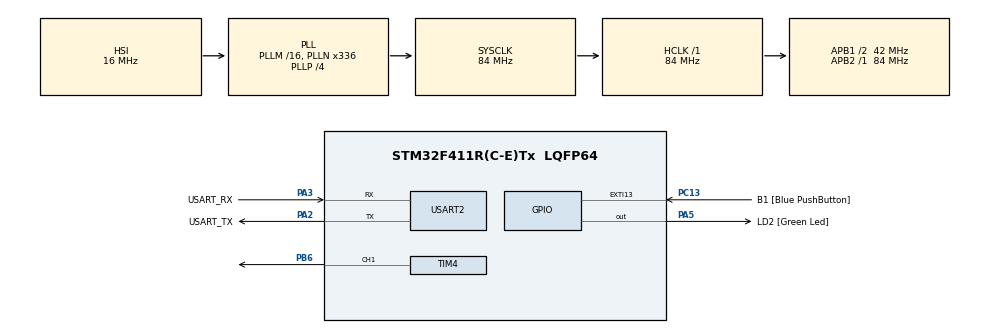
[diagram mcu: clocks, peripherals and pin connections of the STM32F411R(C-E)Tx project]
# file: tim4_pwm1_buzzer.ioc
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Mcu.Family=STM32F4
Mcu.Name=STM32F411R(C-E)Tx
Mcu.Package=LQFP64
NVIC.PriorityGroup=NVIC_PRIORITYGROUP_0
PA13.GPIO_Label=TMS
PA13.Mode=Serial_Wire
PA13.Signal=SYS_JTMS-SWDIO
PA14.GPIO_Label=TCK
PA14.Mode=Serial_Wire
PA14.Signal=SYS_JTCK-SWCLK
PA2.GPIO_Label=USART_TX
PA2.Mode=Asynchronous
PA2.Signal=USART2_TX
PA3.GPIO_Label=USART_RX
PA3.Mode=Asynchronous
PA3.Signal=USART2_RX
PA5.GPIO_Label=LD2 [Green Led]
PA5.Signal=GPIO_Output
PB3.GPIO_Label=SWO
PB3.Signal=SYS_JTDO-SWO
PB6.Signal=S_TIM4_CH1
PC13-ANTI_TAMP.GPIO_Label=B1 [Blue PushButton]
PC13-ANTI_TAMP.GPIO_ModeDefaultEXTI=GPIO_MODE_IT_FALLING
PC13-ANTI_TAMP.Signal=GPXTI13
PC14-OSC32_IN.Mode=LSE-External-Oscillator
PC14-OSC32_IN.Signal=RCC_OSC32_IN
PC15-OSC32_OUT.Mode=LSE-External-Oscillator
PC15-OSC32_OUT.Signal=RCC_OSC32_OUT
PH0\ -\ OSC_IN.Mode=HSE-External-Clock-Source
PH0\ -\ OSC_IN.Signal=RCC_OSC_IN
PH1\ -\ OSC_OUT.Mode=HSE-External-Clock-Source
PH1\ -\ OSC_OUT.Signal=RCC_OSC_OUT
ProjectManager.HeapSize=0x200
ProjectManager.StackSize=0x400
ProjectManager.TargetToolchain=STM32CubeIDE
RCC.48MHZClocksFreq_Value=84000000
RCC.AHBFreq_Value=84000000
RCC.APB1CLKDivider=RCC_HCLK_DIV2
RCC.APB1Freq_Value=42000000
RCC.APB1TimFreq_Value=84000000
RCC.APB2Freq_Value=84000000
RCC.APB2TimFreq_Value=84000000
RCC.CortexFreq_Value=84000000
RCC.FLatency-AdvancedSettings=FLASH_LATENCY_2
RCC.HCLKFreq_Value=84000000
RCC.HSE_VALUE=8000000
RCC.HSI_VALUE=16000000
RCC.PLLN=336
RCC.PLLP=RCC_PLLP_DIV4
RCC.SYSCLKFreq_VALUE=84000000
RCC.SYSCLKSource=RCC_SYSCLKSOURCE_PLLCLK
RCC.VCOOutputFreq_Value=336000000
SH.S_TIM4_CH1.0=TIM4_CH1,PWM Generation1 CH1
TIM4.Channel-PWM\ Generation1\ CH1=TIM_CHANNEL_1
TIM4.Period=0
TIM4.Prescaler=84-1
USART2.VirtualMode=VM_ASYNC
VP_TIM4_VS_ClockSourceINT.Mode=Internal
board=NUCLEO-F411RE

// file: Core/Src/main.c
/* USER CODE BEGIN Header */
/**
 * PB6 : buzzer
  ******************************************************************************
  * @file           : main.c
  * @brief          : Main program body
  ******************************************************************************
  * @attention
  *
  * Copyright (c) 2024 STMicroelectronics.
  * All rights reserved.
  *
  * This software is licensed under terms that can be found in the LICENSE file
  * in the root directory of this software component.
  * If no LICENSE file comes with this software, it is provided AS-IS.
  *
  ******************************************************************************
  */
/* USER CODE END Header */
#include "main.h"

/* USER CODE BEGIN PD */
#define TIM4COUNTERCLOCK 1000000
/* USER CODE END PD */

TIM_HandleTypeDef htim4;

UART_HandleTypeDef huart2;

/* USER CODE BEGIN PV */
enum notes
{
	C4 = 26163,	//도(261.63Hz)
	D4 = 29366,
	E4 = 32963,
	F4 = 34923,
	G4 = 39200,
	A4 = 44000,
	B4 = 49388,
	C5 = 52325	//도(523.25Hz)
};
enum notes SchoolBell[] = {G4,G4,A4,A4,G4,G4,E4,G4,G4,E4,E4,D4,
							G4,G4,A4,A4,G4,G4,E4,G4,E4,D4,E4,C4};

/* USER CODE END PV */

void SystemClock_Config(void);
static void MX_GPIO_Init(void);
static void MX_USART2_UART_Init(void);
static void MX_TIM4_Init(void);

int main(void)
{

  /* MCU Configuration--------------------------------------------------------*/

  /* Reset of all peripherals, Initializes the Flash interface and the Systick. */
  HAL_Init();

  /* Configure the system clock */
  SystemClock_Config();

  /* Initialize all configured peripherals */
  MX_GPIO_Init();
  MX_USART2_UART_Init();
  MX_TIM4_Init();

  /* Infinite loop */
  /* USER CODE BEGIN WHILE */
  while (1)
  {
	  for(int i=0;i<sizeof(SchoolBell) / sizeof(enum notes); i++)
	  {
		 __HAL_TIM_SET_AUTORELOAD(&htim4,(int)(TIM4COUNTERCLOCK / SchoolBell[i] * 100));
		 __HAL_TIM_SET_COMPARE(&htim4,TIM_CHANNEL_1,TIM4COUNTERCLOCK / SchoolBell[i] * 100 / 2);
		 HAL_TIM_PWM_Start(&htim4, TIM_CHANNEL_1);
		 HAL_Delay(500);

		 HAL_TIM_PWM_Stop(&htim4, TIM_CHANNEL_1);
		 HAL_Delay(10);

	  }
    /* USER CODE END WHILE */

  }
}

void SystemClock_Config(void)
{
  RCC_OscInitTypeDef RCC_OscInitStruct = {0};
  RCC_ClkInitTypeDef RCC_ClkInitStruct = {0};

  /** Configure the main internal regulator output voltage
  */
  __HAL_RCC_PWR_CLK_ENABLE();
  __HAL_PWR_VOLTAGESCALING_CONFIG(PWR_REGULATOR_VOLTAGE_SCALE1);

  /** Initializes the RCC Oscillators according to the specified parameters
  * in the RCC_OscInitTypeDef structure.
  */
  RCC_OscInitStruct.OscillatorType = RCC_OSCILLATORTYPE_HSI;
  RCC_OscInitStruct.HSIState = RCC_HSI_ON;
  RCC_OscInitStruct.HSICalibrationValue = RCC_HSICALIBRATION_DEFAULT;
  RCC_OscInitStruct.PLL.PLLState = RCC_PLL_ON;
  RCC_OscInitStruct.PLL.PLLSource = RCC_PLLSOURCE_HSI;
  RCC_OscInitStruct.PLL.PLLM = 16;
  RCC_OscInitStruct.PLL.PLLN = 336;
  RCC_OscInitStruct.PLL.PLLP = RCC_PLLP_DIV4;
  RCC_OscInitStruct.PLL.PLLQ = 4;
  if (HAL_RCC_OscConfig(&RCC_OscInitStruct) != HAL_OK)
  {
    Error_Handler();
  }

  /** Initializes the CPU, AHB and APB buses clocks
  */
  RCC_ClkInitStruct.ClockType = RCC_CLOCKTYPE_HCLK|RCC_CLOCKTYPE_SYSCLK
                              |RCC_CLOCKTYPE_PCLK1|RCC_CLOCKTYPE_PCLK2;
  RCC_ClkInitStruct.SYSCLKSource = RCC_SYSCLKSOURCE_PLLCLK;
  RCC_ClkInitStruct.AHBCLKDivider = RCC_SYSCLK_DIV1;
  RCC_ClkInitStruct.APB1CLKDivider = RCC_HCLK_DIV2;
  RCC_ClkInitStruct.APB2CLKDivider = RCC_HCLK_DIV1;

  if (HAL_RCC_ClockConfig(&RCC_ClkInitStruct, FLASH_LATENCY_2) != HAL_OK)
  {
    Error_Handler();
  }
}

static void MX_TIM4_Init(void)
{

  TIM_ClockConfigTypeDef sClockSourceConfig = {0};
  TIM_MasterConfigTypeDef sMasterConfig = {0};
  TIM_OC_InitTypeDef sConfigOC = {0};

  htim4.Instance = TIM4;
  htim4.Init.Prescaler = 84-1;
  htim4.Init.CounterMode = TIM_COUNTERMODE_UP;
  htim4.Init.Period = 0;
  htim4.Init.ClockDivision = TIM_CLOCKDIVISION_DIV1;
  htim4.Init.AutoReloadPreload = TIM_AUTORELOAD_PRELOAD_DISABLE;
  if (HAL_TIM_Base_Init(&htim4) != HAL_OK)
  {
    Error_Handler();
  }
  sClockSourceConfig.ClockSource = TIM_CLOCKSOURCE_INTERNAL;
  if (HAL_TIM_ConfigClockSource(&htim4, &sClockSourceConfig) != HAL_OK)
  {
    Error_Handler();
  }
  if (HAL_TIM_PWM_Init(&htim4) != HAL_OK)
  {
    Error_Handler();
  }
  sMasterConfig.MasterOutputTrigger = TIM_TRGO_RESET;
  sMasterConfig.MasterSlaveMode = TIM_MASTERSLAVEMODE_DISABLE;
  if (HAL_TIMEx_MasterConfigSynchronization(&htim4, &sMasterConfig) != HAL_OK)
  {
    Error_Handler();
  }
  sConfigOC.OCMode = TIM_OCMODE_PWM1;
  sConfigOC.Pulse = 0;
  sConfigOC.OCPolarity = TIM_OCPOLARITY_HIGH;
  sConfigOC.OCFastMode = TIM_OCFAST_DISABLE;
  if (HAL_TIM_PWM_ConfigChannel(&htim4, &sConfigOC, TIM_CHANNEL_1) != HAL_OK)
  {
    Error_Handler();
  }
  HAL_TIM_MspPostInit(&htim4);

}

static void MX_USART2_UART_Init(void)
{

  huart2.Instance = USART2;
  huart2.Init.BaudRate = 115200;
  huart2.Init.WordLength = UART_WORDLENGTH_8B;
  huart2.Init.StopBits = UART_STOPBITS_1;
  huart2.Init.Parity = UART_PARITY_NONE;
  huart2.Init.Mode = UART_MODE_TX_RX;
  huart2.Init.HwFlowCtl = UART_HWCONTROL_NONE;
  huart2.Init.OverSampling = UART_OVERSAMPLING_16;
  if (HAL_UART_Init(&huart2) != HAL_OK)
  {
    Error_Handler();
  }

}

static void MX_GPIO_Init(void)
{
  GPIO_InitTypeDef GPIO_InitStruct = {0};

  /* GPIO Ports Clock Enable */
  __HAL_RCC_GPIOC_CLK_ENABLE();
  __HAL_RCC_GPIOH_CLK_ENABLE();
  __HAL_RCC_GPIOA_CLK_ENABLE();
  __HAL_RCC_GPIOB_CLK_ENABLE();

  /*Configure GPIO pin Output Level */
  HAL_GPIO_WritePin(LD2_GPIO_Port, LD2_Pin, GPIO_PIN_RESET);

  /*Configure GPIO pin : B1_Pin */
  GPIO_InitStruct.Pin = B1_Pin;
  GPIO_InitStruct.Mode = GPIO_MODE_IT_FALLING;
  GPIO_InitStruct.Pull = GPIO_NOPULL;
  HAL_GPIO_Init(B1_GPIO_Port, &GPIO_InitStruct);

  /*Configure GPIO pin : LD2_Pin */
  GPIO_InitStruct.Pin = LD2_Pin;
  GPIO_InitStruct.Mode = GPIO_MODE_OUTPUT_PP;
  GPIO_InitStruct.Pull = GPIO_NOPULL;
  GPIO_InitStruct.Speed = GPIO_SPEED_FREQ_LOW;
  HAL_GPIO_Init(LD2_GPIO_Port, &GPIO_InitStruct);

}

void Error_Handler(void)
{
  __disable_irq();
  while (1)
  {
  }
}
